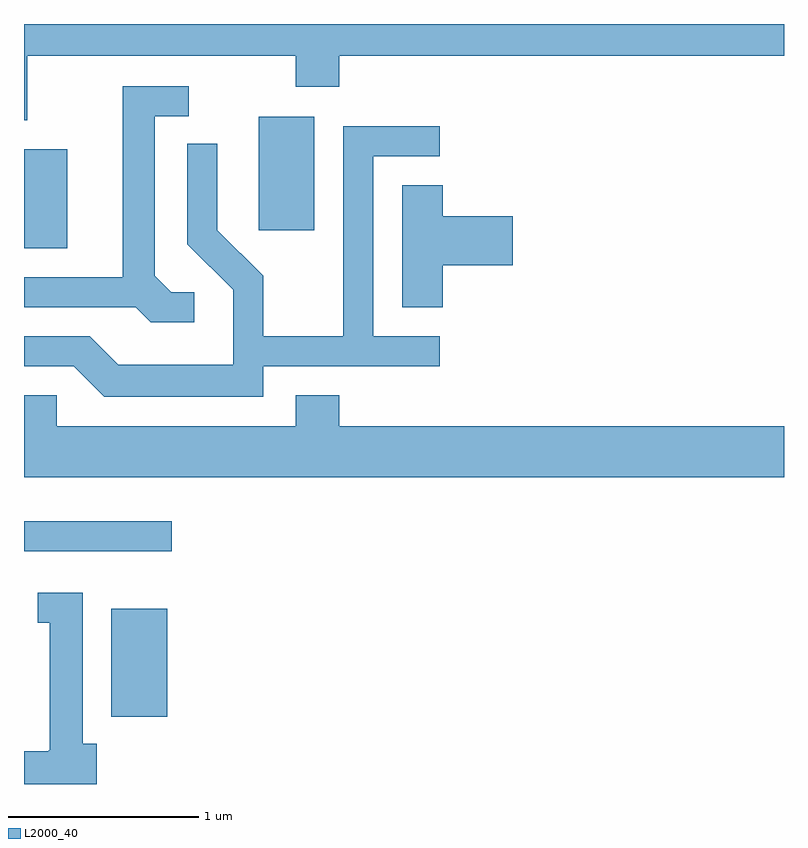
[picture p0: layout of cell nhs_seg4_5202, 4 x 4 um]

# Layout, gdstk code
import gdstk
lib = gdstk.Library(unit=1e-6, precision=1e-09)
def R(c, l, rs):  # rectangles x0, y0, x1, y1
    for r in rs: c.add(gdstk.rectangle(r[:2], r[2:], *l))
def P(c, l, *ps):  # polygons
    for p in ps: c.add(gdstk.Polygon(p, *l))
L2000_40 = (2000, 40)

nhs_seg4_5202 = lib.new_cell('nhs_seg4_5202')
R(nhs_seg4_5202, L2000_40, [(338.071,1322.336,338.364,1322.904), (337.611,1323.206,338.388,1323.364), (337.611,1324.801,337.839,1325.324), (338.846,1324.896,339.139,1325.494)])
P(nhs_seg4_5202, L2000_40, [(337.629,1325.816),(339.041,1325.816),(339.041,1325.651),(339.269,1325.651),(339.269,1325.816),(341.611,1325.816),(341.611,1325.982),(337.611,1325.982),(337.611,1325.476),(337.629,1325.476)],
  [(338.508,1324.569),(338.387,1324.569),(338.299,1324.657),(338.299,1325.496),(338.478,1325.496),(338.478,1325.654),(338.131,1325.654),(338.131,1324.649),(337.611,1324.649),(337.611,1324.491),(338.199,1324.491),(338.279,1324.411),(338.508,1324.411)],
  [(338.869,1324.181),(339.798,1324.181),(339.798,1324.339),(339.449,1324.339),(339.449,1325.286),(339.798,1325.286),(339.798,1325.444),(339.291,1325.444),(339.291,1324.339),(338.869,1324.339),(338.869,1324.657),(338.629,1324.897),(338.629,1325.353),(338.471,1325.353),(338.471,1324.824),(338.711,1324.584),(338.711,1324.189),(338.107,1324.189),(337.957,1324.339),(337.611,1324.339),(337.611,1324.181),(337.874,1324.181),(338.034,1324.021),(338.869,1324.021)],
  [(339.814,1324.711),(340.184,1324.711),(340.184,1324.969),(339.814,1324.969),(339.814,1325.134),(339.601,1325.134),(339.601,1324.491),(339.814,1324.491)],
  [(341.611,1323.864),(339.269,1323.864),(339.269,1324.029),(339.041,1324.029),(339.041,1323.864),(337.784,1323.864),(337.784,1324.029),(337.611,1324.029),(337.611,1323.596),(341.611,1323.596)],
  [(337.994,1322.194),(337.919,1322.194),(337.919,1322.989),(337.683,1322.989),(337.683,1322.831),(337.746,1322.831),(337.746,1322.16),(337.74,1322.16),(337.74,1322.154),(337.611,1322.154),(337.611,1321.982),(337.994,1321.982)])

lib.write_gds('nhs_seg4_5202.gds')
